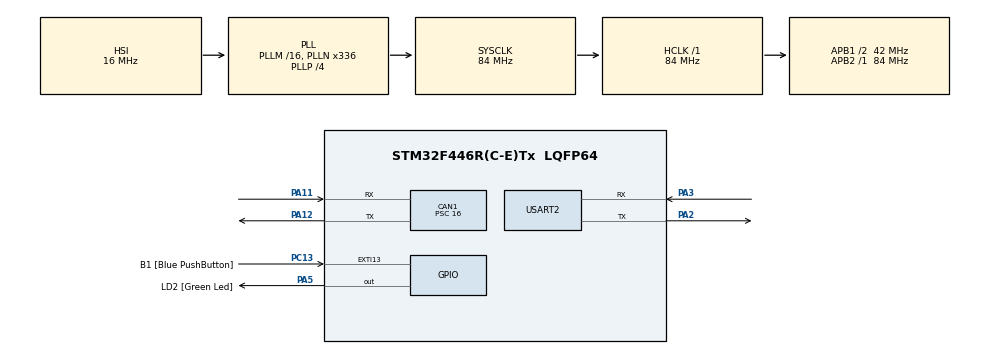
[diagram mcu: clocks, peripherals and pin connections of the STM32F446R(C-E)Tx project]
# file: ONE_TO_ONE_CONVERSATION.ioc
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CAN1.BS1=CAN_BS1_3TQ
CAN1.CalculateBaudRate=525000
CAN1.CalculateTimeBit=1904
CAN1.CalculateTimeQuantum=380.95238095238096
CAN1.NART=DISABLE
CAN1.Prescaler=16
CAN1.TXFP=DISABLE
FREERTOS.Tasks01=defaultTask,0,128,StartDefaultTask,Default,NULL,Dynamic,NULL,NULL
FREERTOS.configUSE_NEWLIB_REENTRANT=1
Mcu.Family=STM32F4
Mcu.Name=STM32F446R(C-E)Tx
Mcu.Package=LQFP64
NVIC.CAN1_RX0_IRQn=true\:5\:0\:false\:false\:true\:true\:true\:true\:true
NVIC.CAN1_RX1_IRQn=true\:5\:0\:false\:false\:true\:true\:true\:true\:true
NVIC.PriorityGroup=NVIC_PRIORITYGROUP_4
NVIC.TIM1_UP_TIM10_IRQn=true\:5\:0\:false\:false\:true\:true\:false\:true\:true
NVIC.TIM3_IRQn=true\:5\:0\:false\:false\:true\:true\:true\:true\:true
NVIC.TIM4_IRQn=true\:5\:0\:false\:false\:true\:true\:true\:true\:true
NVIC.TIM6_DAC_IRQn=true\:5\:0\:false\:false\:true\:true\:true\:true\:true
NVIC.TIM7_IRQn=true\:5\:0\:false\:false\:true\:true\:true\:true\:true
NVIC.TIM8_BRK_TIM12_IRQn=true\:5\:0\:false\:false\:true\:true\:true\:true\:true
NVIC.TimeBase=TIM1_UP_TIM10_IRQn
NVIC.TimeBaseIP=TIM1
NVIC.USART2_IRQn=true\:5\:0\:false\:false\:true\:true\:true\:true\:true
PA11.Mode=CAN_Activate
PA11.Signal=CAN1_RX
PA12.Mode=CAN_Activate
PA12.Signal=CAN1_TX
PA13.GPIO_Label=TMS
PA13.Mode=Serial_Wire
PA13.Signal=SYS_JTMS-SWDIO
PA14.GPIO_Label=TCK
PA14.Mode=Serial_Wire
PA14.Signal=SYS_JTCK-SWCLK
PA2.GPIO_ModeDefaultPP=GPIO_MODE_AF_PP
PA2.GPIO_PuPd=GPIO_NOPULL
PA2.GPIO_Speed=GPIO_SPEED_FREQ_VERY_HIGH
PA2.Mode=Asynchronous
PA2.Signal=USART2_TX
PA3.GPIO_ModeDefaultPP=GPIO_MODE_AF_PP
PA3.GPIO_PuPd=GPIO_NOPULL
PA3.GPIO_Speed=GPIO_SPEED_FREQ_VERY_HIGH
PA3.Mode=Asynchronous
PA3.Signal=USART2_RX
PA5.GPIO_Label=LD2 [Green Led]
PA5.Signal=GPIO_Output
PB3.GPIO_Label=SWO
PB3.Signal=SYS_JTDO-SWO
PC13.GPIO_Label=B1 [Blue PushButton]
PC13.GPIO_ModeDefaultEXTI=GPIO_MODE_IT_FALLING
PC13.Signal=GPXTI13
PC14-OSC32_IN.Mode=LSE-External-Oscillator
PC14-OSC32_IN.Signal=RCC_OSC32_IN
PC15-OSC32_OUT.Mode=LSE-External-Oscillator
PC15-OSC32_OUT.Signal=RCC_OSC32_OUT
PH0-OSC_IN.Mode=HSE-External-Oscillator
PH0-OSC_IN.Signal=RCC_OSC_IN
PH1-OSC_OUT.Mode=HSE-External-Oscillator
PH1-OSC_OUT.Signal=RCC_OSC_OUT
ProjectManager.HeapSize=0x200
ProjectManager.StackSize=0x400
ProjectManager.TargetToolchain=STM32CubeIDE
RCC.48MHZClocksFreq_Value=84000000
RCC.AHBFreq_Value=84000000
RCC.APB1CLKDivider=RCC_HCLK_DIV2
RCC.APB1Freq_Value=42000000
RCC.APB1TimFreq_Value=84000000
RCC.APB2Freq_Value=84000000
RCC.APB2TimFreq_Value=84000000
RCC.CortexFreq_Value=84000000
RCC.FLatency-AdvancedSettings=FLASH_LATENCY_2
RCC.HCLKFreq_Value=84000000
RCC.HSE_VALUE=8000000
RCC.HSI_VALUE=16000000
RCC.PLLN=336
RCC.PLLP=RCC_PLLP_DIV4
RCC.SYSCLKFreq_VALUE=84000000
RCC.SYSCLKSource=RCC_SYSCLKSOURCE_PLLCLK
RCC.USBFreq_Value=168000000
RCC.VCOOutputFreq_Value=336000000
TIM12.Period=1999
TIM12.Prescaler=41999
TIM3.Period=9999
TIM3.Prescaler=41999
TIM4.Period=3999
TIM4.Prescaler=41999
TIM6.Period=19999
TIM6.Prescaler=41999
TIM7.Period=19999
TIM7.Prescaler=41999
USART2.VirtualMode=VM_ASYNC
VP_FREERTOS_VS_CMSIS_V1.Mode=CMSIS_V1
VP_SYS_VS_tim1.Mode=TIM1
VP_TIM12_VS_ClockSourceINT.Mode=Internal
VP_TIM3_VS_ClockSourceINT.Mode=Internal
VP_TIM4_VS_ClockSourceINT.Mode=Internal
VP_TIM6_VS_ClockSourceINT.Mode=Enable_Timer
VP_TIM7_VS_ClockSourceINT.Mode=Enable_Timer
board=NUCLEO-F446RE

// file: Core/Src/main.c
/* USER CODE BEGIN Header */
/**
 ******************************************************************************
 * @file           : main.c
 * @brief          : Main program body
 ******************************************************************************
 * @attention
 *
 * Copyright (c) 2024 STMicroelectronics.
 * All rights reserved.
 *
 * This software is licensed under terms that can be found in the LICENSE file
 * in the root directory of this software component.
 * If no LICENSE file comes with this software, it is provided AS-IS.
 *
 ******************************************************************************
 */
/* USER CODE END Header */
#include "main.h"
#include "cmsis_os.h"
#include "can.h"
#include "tim.h"
#include "usart.h"
#include "gpio.h"

/* USER CODE BEGIN Includes */
#include "APP_UDS_Diag.h"
#include "string.h"
#include "CanTp.h"
#include "CanIf.h"
#include "CanNm.h"
/* USER CODE END Includes */

/* USER CODE BEGIN PM */

/*
 *
 *
 *
 *
 *
 *
 *
 *
 *
 * TODO:
 * NRC Handling
 * Use flags in server callback
 * Implement said flags in UDS_MainFunction
 *
 * Handle VIN array
 * Test Third Node(BroadCasting/Multiple Responses)
 *
 *
 *
 *
 *
 *
 *
 *
 *
 */

/* USER CODE END PM */

/* USER CODE BEGIN PV */

extern CAN_HandleTypeDef hcan1;
extern UART_HandleTypeDef huart2;

TaskHandle_t xTaskHandle1 = NULL;
TaskHandle_t xTaskHandle2 = NULL;
TaskHandle_t xTaskHandle3 = NULL;

#if CAN_MODE == Client
/**********App *******************/

//For Menus
ClientMenu Menu = Target_Selection_Menu;
uint8_t Menu_Letter = {0};
extern uint8_t SupressedPosRes_CLient;
extern uint8_t Source_Address;
extern uint8_t Target_Address;

//Array of Menu Massages
const uint8_t* Menu_Msg_Arr[] =
{(uint8_t*)"\r\nMain Menu.\r\n",
		(uint8_t*) "\r\nplease Choose Your Service.\r\n",
		(uint8_t*) "\r\nA --> Control Session.\r\n",
		(uint8_t*) "\r\nB --> Read Data.\r\n",
		(uint8_t*) "\r\nC --> Write Data.\r\n",
		(uint8_t*) "\r\nD --> Security Access.\r\n",
		(uint8_t*) "\r\nE --> Tester Representer.\r\n",
		(uint8_t*) "\r\nChoose Your Session.\r\n",
		(uint8_t*) "\r\nF --> Default Session.\r\n",
		(uint8_t*) "\r\nG --> Extended Session.\r\n",
		(uint8_t*) "\r\nChoose Your Data.\r\n",
		(uint8_t*) "\r\nH --> Read Oil Temperature.\r\n",
		(uint8_t*) "\r\nI --> Read Oil Pressure.\r\n",
		(uint8_t*) "\r\nChoose Your Option.\r\n",
		(uint8_t*) "\r\nJ --> Seed.\r\n",
		(uint8_t*) "\r\nK --> Key.\r\n",
		(uint8_t*) "\r\nM --> Return to Main Menu.\r\n",
		(uint8_t*) "\r\n=========================================.\r\n",
		(uint8_t*) "\r\nO --> Write Oil Temperature.\r\n",
		(uint8_t*) "\r\nP --> Write Oil Pressure.\r\n",
		(uint8_t*)"\r\nDo You want a Response in case of it's Positive?.\r\n",
		(uint8_t*)"\r\nR --> No.\r\n",
		(uint8_t*)"\r\nQ --> Yes.\r\n",
		(uint8_t*)"\r\nM --> Go to Main Menu.\r\n",
		(uint8_t*)"\r\nN --> Back to Response Permission.\r\n",
		(uint8_t*) "\r\nChoose Your Target:.\r\n",
		(uint8_t*) "\r\nT --> Oil Temperature.\r\n",
		(uint8_t*) "\r\nU --> Oil Pressure.\r\n",
		(uint8_t*) "\r\nV --> Back To Target Selection Menu.\r\n",
		(uint8_t*)"\r\nN --> Go to Response Permission.\r\n",
		(uint8_t*)"\r\nW --> Broadcast.\r\n",
		(uint8_t*)"\r\nX --> Read VIN Number.\r\n",
		(uint8_t*)"\r\nY --> Write VIN Number.\r\n",
};
#else

extern TIM_HandleTypeDef htim6;
volatile uint8_t count;
volatile uint8_t count3;
volatile uint8_t count4;
volatile uint8_t count7;
volatile uint8_t count12;
//extern volatile uint8_t global_sec_flag;
extern volatile uint8_t global_session;

extern uint8_t SupressedPosRes_Server;
#endif

/* USER CODE END PV */

void SystemClock_Config(void);
void MX_FREERTOS_Init(void);
/* USER CODE BEGIN PFP */

#if CAN_MODE == Client

void Display_Menu(void);

#endif

/* USER CODE END PFP */

/* USER CODE BEGIN 0 */

#if CAN_MODE == Client
void HAL_UART_RxCpltCallback(UART_HandleTypeDef *huart) {

	//A --> Control Session.
	//B --> Read Data.
	//C --> Write Data.
	//D --> Security Access.
	//E --> Tester Representer.

	//F --> Default Session.
	//G --> Extended Session.

	//H --> Read Oil Temperature.
	//I --> Read Oil Pressure.

	//J --> Seed.
	//K --> Key.

	//M --> Return to Main Menu

	//O --> Write Oil Temperature.
	//P --> Write Oil Pressure.

	//Q --> Yes
	//R --> No.

	//N--> Back to Response Permission

	//T --> Oil Temperature
	//U --> Oil Pressure
	//W --> Broadcast
	//V --> Back To Target Selection Menu

	//X --> Read VIN Number.
	//Y --> Write VIN Number.

	//Display Choosen Letter
	HAL_UART_Transmit(&huart2 ,&Menu_Letter , 1, HAL_MAX_DELAY);

	//Switch on User Menus
	switch(Menu_Letter)
	{
	case 'A':
		Menu = Control_Session_Menu;
		break;

	case 'B':
		Menu = Read_Data_Menu;
		break;

	case 'C':
		Menu = Write_Data_Menu;
		break;

	case 'D':
		Menu = Security_Access_Menu;
		break;

	case 'N':
		Menu = Response_Permission_Menu;
		break;

	case 'V':
		Menu = Target_Selection_Menu;
		break;

	case 'T':
		Target_Address = Tempreture_Address;
		Menu = Response_Permission_Menu;
		break;

	case 'U':
		Target_Address = Pressure_Address;
		Menu = Response_Permission_Menu;
		break;

	case 'W':
		Target_Address = Functional_Address;
		Menu = Response_Permission_Menu;
		break;

	case 'E':
		UDS_Tester_Presenter_Client();
		break;

	case 'F':
		UDS_Control_Session_Default();
		break;

	case 'G':
		UDS_Control_Session_Extended();
		break;

	case 'H':
		DID Read_Oil_Temp = Oil_Temp;
		UDS_Read_Data_Client(Read_Oil_Temp);
		break;

	case 'I':
		DID Read_Oil_Pressure = Oil_Pressure;
		UDS_Read_Data_Client(Read_Oil_Pressure);

		break;

	case 'X':
		DID Read_VIN_number = VIN_number;
		UDS_Read_Data_Client(Read_VIN_number);

		break;

	case 'O':
		DID Write_Oil_Temp = Oil_Temp;
		uint32_t Write_Oil_Temp_data = 0x5432;
		UDS_Write_Data_Client(Write_Oil_Temp, Write_Oil_Temp_data);
		break;

	case 'P':
		DID Write_Oil_Pressure = Oil_Pressure;
		uint32_t Write_Oil_Pressure_data = 0x54321044;
		UDS_Write_Data_Client(Write_Oil_Pressure, Write_Oil_Pressure_data);
		break;

	case 'Y':
		DID Write_VIN_number = VIN_number;
		uint32_t Write_VIN_number_data = 0x00;
		UDS_Write_Data_Client(Write_VIN_number, Write_VIN_number_data);
		break;

	case 'J':
		Sub_Fun sub_fun_seed = Seed;
		UDS_Send_Security_Client(sub_fun_seed);
		break;

	case 'K':
		Sub_Fun sub_fun_key = Key;
		// A Temporary example for a seed (Accessed in CallBack)
		UDS_Send_Security_Client(sub_fun_key);
		break;

	case 'M':
		Menu = Main_Menu;
		break;

	case 'Q':
		SupressedPosRes_CLient = 1;
		Menu = Main_Menu;
		break;

	case 'R':
		SupressedPosRes_CLient = 0;
		Menu = Main_Menu;
		break;

	default:
		Menu = Main_Menu;
	}

	Display_Menu();

	//Recieve Another Letter
	HAL_UART_Receive_IT(&huart2, &Menu_Letter, 1);

}

#endif

/* USER CODE END 0 */

int main(void)
{

	/* MCU Configuration--------------------------------------------------------*/

	/* Reset of all peripherals, Initializes the Flash interface and the Systick. */
	HAL_Init();

	/* Configure the system clock */
	SystemClock_Config();

	/* Initialize all configured peripherals */
	MX_GPIO_Init();
	MX_CAN1_Init();
	MX_USART2_UART_Init();
	MX_TIM6_Init();
	MX_TIM3_Init();
	MX_TIM4_Init();
	MX_TIM7_Init();
	MX_TIM12_Init();
	/* USER CODE BEGIN 2 */
	HAL_CAN_ActivateNotification(&hcan1, CAN_IT_RX_FIFO0_MSG_PENDING);
#if CAN_MODE == Client
	Display_Menu();
	HAL_UART_Receive_IT(&huart2, &Menu_Letter, 1);
	CanTp_setCallback(UDS_Client_Callback);
	xTaskCreate(UDS_MainFunction, "UDS_RX", configMINIMAL_STACK_SIZE,NULL, 2, &xTaskHandle3) ;
#else
	CanTp_setCallback(server_call_back);
#endif

	xTaskCreate(CanIf_Receive, "CANIf_RX", configMINIMAL_STACK_SIZE,NULL, 2, &xTaskHandle1) ;
	xTaskCreate(CanTp_MainFunction, "CANTp_RX", configMINIMAL_STACK_SIZE,NULL, 3, &xTaskHandle2) ;
	CanTp_Init();

	/* USER CODE END 2 */

	/* Call init function for freertos objects (in freertos.c) */
	MX_FREERTOS_Init();

	/* Start scheduler */
	osKernelStart();

	/* We should never get here as control is now taken by the scheduler */
	/* Infinite loop */
	while (1)
	{

	}
}

void SystemClock_Config(void)
{
	RCC_OscInitTypeDef RCC_OscInitStruct = {0};
	RCC_ClkInitTypeDef RCC_ClkInitStruct = {0};

	/** Configure the main internal regulator output voltage
	 */
	__HAL_RCC_PWR_CLK_ENABLE();
	__HAL_PWR_VOLTAGESCALING_CONFIG(PWR_REGULATOR_VOLTAGE_SCALE3);

	/** Initializes the RCC Oscillators according to the specified parameters
	 * in the RCC_OscInitTypeDef structure.
	 */
	RCC_OscInitStruct.OscillatorType = RCC_OSCILLATORTYPE_HSI;
	RCC_OscInitStruct.HSIState = RCC_HSI_ON;
	RCC_OscInitStruct.HSICalibrationValue = RCC_HSICALIBRATION_DEFAULT;
	RCC_OscInitStruct.PLL.PLLState = RCC_PLL_ON;
	RCC_OscInitStruct.PLL.PLLSource = RCC_PLLSOURCE_HSI;
	RCC_OscInitStruct.PLL.PLLM = 16;
	RCC_OscInitStruct.PLL.PLLN = 336;
	RCC_OscInitStruct.PLL.PLLP = RCC_PLLP_DIV4;
	RCC_OscInitStruct.PLL.PLLQ = 2;
	RCC_OscInitStruct.PLL.PLLR = 2;
	if (HAL_RCC_OscConfig(&RCC_OscInitStruct) != HAL_OK)
	{
		Error_Handler();
	}

	/** Initializes the CPU, AHB and APB buses clocks
	 */
	RCC_ClkInitStruct.ClockType = RCC_CLOCKTYPE_HCLK|RCC_CLOCKTYPE_SYSCLK
			|RCC_CLOCKTYPE_PCLK1|RCC_CLOCKTYPE_PCLK2;
	RCC_ClkInitStruct.SYSCLKSource = RCC_SYSCLKSOURCE_PLLCLK;
	RCC_ClkInitStruct.AHBCLKDivider = RCC_SYSCLK_DIV1;
	RCC_ClkInitStruct.APB1CLKDivider = RCC_HCLK_DIV2;
	RCC_ClkInitStruct.APB2CLKDivider = RCC_HCLK_DIV1;

	if (HAL_RCC_ClockConfig(&RCC_ClkInitStruct, FLASH_LATENCY_2) != HAL_OK)
	{
		Error_Handler();
	}
}

/* USER CODE BEGIN 4 */

#if CAN_MODE == Client

void Display_Menu(void)
{

	switch(Menu)
	{
	case Main_Menu:

		//Default Session Menu
		HAL_UART_Transmit(&huart2, Menu_Msg_Arr[0], strlen((char*)Menu_Msg_Arr[0]), HAL_MAX_DELAY);    //{"\r\nMain Menu.\r\n"
		HAL_UART_Transmit(&huart2, Menu_Msg_Arr[1], strlen((char*)Menu_Msg_Arr[1]), HAL_MAX_DELAY);    //"\r\n please Choose Your Service.\r\n",
		HAL_UART_Transmit(&huart2, Menu_Msg_Arr[2], strlen((char*)Menu_Msg_Arr[2]), HAL_MAX_DELAY);    //"\r\nA --> Control Session.\r\n",
		HAL_UART_Transmit(&huart2, Menu_Msg_Arr[3], strlen((char*)Menu_Msg_Arr[3]), HAL_MAX_DELAY);    //"\r\nB --> Read Data.\r\n",
		HAL_UART_Transmit(&huart2, Menu_Msg_Arr[4], strlen((char*)Menu_Msg_Arr[4]), HAL_MAX_DELAY);    //"\r\nC --> Write Data.\r\n",
		HAL_UART_Transmit(&huart2, Menu_Msg_Arr[5], strlen((char*)Menu_Msg_Arr[5]), HAL_MAX_DELAY);    //"\r\nD --> Security Access.\r\n",
		HAL_UART_Transmit(&huart2, Menu_Msg_Arr[6], strlen((char*)Menu_Msg_Arr[6]), HAL_MAX_DELAY);    //"\r\nE --> Tester Representer.\r\n"};
		HAL_UART_Transmit(&huart2, Menu_Msg_Arr[24], strlen((char*)Menu_Msg_Arr[24]), HAL_MAX_DELAY);    //"\r\nN --> Back to Response Permission.\r\n"};
		HAL_UART_Transmit(&huart2, Menu_Msg_Arr[28], strlen((char*)Menu_Msg_Arr[28]), HAL_MAX_DELAY);    //"\r\nV --> Back To Target Selection Menu.\r\n"
		HAL_UART_Transmit(&huart2, Menu_Msg_Arr[17], strlen((char*)Menu_Msg_Arr[17]), HAL_MAX_DELAY);    //"\r\n=========================================.\r\n"};
		break;

	case Control_Session_Menu:
		HAL_UART_Transmit(&huart2, Menu_Msg_Arr[7], strlen((char*)Menu_Msg_Arr[7]), HAL_MAX_DELAY);    //"\r\nChoose Your Session.\r\n"
		HAL_UART_Transmit(&huart2, Menu_Msg_Arr[8], strlen((char*)Menu_Msg_Arr[8]), HAL_MAX_DELAY);    //"\r\nF --> Default Session.\r\n"
		HAL_UART_Transmit(&huart2, Menu_Msg_Arr[9], strlen((char*)Menu_Msg_Arr[9]), HAL_MAX_DELAY);    //"\r\nG --> Extended Session.\r\n"
		HAL_UART_Transmit(&huart2, Menu_Msg_Arr[16], strlen((char*)Menu_Msg_Arr[16]), HAL_MAX_DELAY);    //"\r\nM --> Return to Main Menu.\r\n"
		HAL_UART_Transmit(&huart2, Menu_Msg_Arr[17], strlen((char*)Menu_Msg_Arr[17]), HAL_MAX_DELAY);    //"\r\n=========================================.\r\n"};
		break;

	case Read_Data_Menu:
		HAL_UART_Transmit(&huart2, Menu_Msg_Arr[10], strlen((char*)Menu_Msg_Arr[10]), HAL_MAX_DELAY);    //"\r\nChoose Your Data.\r\n"

		if(Target_Address == Tempreture_Address || Target_Address == Functional_Address )
		{
			HAL_UART_Transmit(&huart2, Menu_Msg_Arr[11], strlen((char*)Menu_Msg_Arr[11]), HAL_MAX_DELAY);    //"\r\nH --> Read Oil Temperature.\r\n"

		}
		else if (Target_Address == Pressure_Address || Target_Address == Functional_Address)
		{
			HAL_UART_Transmit(&huart2, Menu_Msg_Arr[12], strlen((char*)Menu_Msg_Arr[12]), HAL_MAX_DELAY);    //"\r\nI --> Read Oil Pressure.\r\n"

		}
		else
		{
			//Nothing
		}
		HAL_UART_Transmit(&huart2, Menu_Msg_Arr[31], strlen((char*)Menu_Msg_Arr[31]), HAL_MAX_DELAY);    //"\r\nX --> Read VIN Number.\r\n"
		HAL_UART_Transmit(&huart2, Menu_Msg_Arr[16], strlen((char*)Menu_Msg_Arr[16]), HAL_MAX_DELAY);    //"\r\nM --> Return to Main Menu.\r\n"
		HAL_UART_Transmit(&huart2, Menu_Msg_Arr[17], strlen((char*)Menu_Msg_Arr[17]), HAL_MAX_DELAY);    //"\r\n=========================================.\r\n"};
		break;

	case Security_Access_Menu:
		HAL_UART_Transmit(&huart2, Menu_Msg_Arr[13], strlen((char*)Menu_Msg_Arr[13]), HAL_MAX_DELAY);    //"\r\nChoose Your Option.\r\n"
		HAL_UART_Transmit(&huart2, Menu_Msg_Arr[14], strlen((char*)Menu_Msg_Arr[14]), HAL_MAX_DELAY);    //"\r\nJ --> Seed.\r\n"
		HAL_UART_Transmit(&huart2, Menu_Msg_Arr[15], strlen((char*)Menu_Msg_Arr[15]), HAL_MAX_DELAY);    //"\r\nK --> Key.\r\n"
		HAL_UART_Transmit(&huart2, Menu_Msg_Arr[16], strlen((char*)Menu_Msg_Arr[16]), HAL_MAX_DELAY);    //"\r\nM --> Return to Main Menu.\r\n"
		HAL_UART_Transmit(&huart2, Menu_Msg_Arr[17], strlen((char*)Menu_Msg_Arr[17]), HAL_MAX_DELAY);    //"\r\n=========================================.\r\n"};
		break;

	case Write_Data_Menu:
		HAL_UART_Transmit(&huart2, Menu_Msg_Arr[10], strlen((char*)Menu_Msg_Arr[10]), HAL_MAX_DELAY);    //"\r\nChoose Your Data.\r\n"

		if(Target_Address == Tempreture_Address || Target_Address == Functional_Address)
		{
			HAL_UART_Transmit(&huart2, Menu_Msg_Arr[18], strlen((char*)Menu_Msg_Arr[18]), HAL_MAX_DELAY);    //"\r\nO --> Write Oil Temperature.\r\n"

		}
		else if (Target_Address == Pressure_Address || Target_Address == Functional_Address)
		{
			HAL_UART_Transmit(&huart2, Menu_Msg_Arr[19], strlen((char*)Menu_Msg_Arr[19]), HAL_MAX_DELAY);    //"\r\nP --> Write Oil Pressure.\r\n"

		}
		else
		{
			//Nothing
		}
		HAL_UART_Transmit(&huart2, Menu_Msg_Arr[32], strlen((char*)Menu_Msg_Arr[32]), HAL_MAX_DELAY);    //"\r\nY --> Write VIN Number.\r\n"
		HAL_UART_Transmit(&huart2, Menu_Msg_Arr[16], strlen((char*)Menu_Msg_Arr[16]), HAL_MAX_DELAY);    //"\r\nM --> Return to Main Menu.\r\n"
		HAL_UART_Transmit(&huart2, Menu_Msg_Arr[17], strlen((char*)Menu_Msg_Arr[17]), HAL_MAX_DELAY);    //"\r\n=========================================.\r\n"};
		break;

	case Response_Permission_Menu:
		HAL_UART_Transmit(&huart2, Menu_Msg_Arr[20], strlen((char*)Menu_Msg_Arr[20]), HAL_MAX_DELAY);    //"\r\nDo You want a Response in case of it's Positive?.\r\n"
		HAL_UART_Transmit(&huart2, Menu_Msg_Arr[22], strlen((char*)Menu_Msg_Arr[22]), HAL_MAX_DELAY);    //"\r\nQ --> Yes.\r\n"
		HAL_UART_Transmit(&huart2, Menu_Msg_Arr[21], strlen((char*)Menu_Msg_Arr[21]), HAL_MAX_DELAY);    //"\r\nR --> No.\r\n"
		HAL_UART_Transmit(&huart2, Menu_Msg_Arr[23], strlen((char*)Menu_Msg_Arr[23]), HAL_MAX_DELAY);    //"\r\nM --> Go to Main Menu.\r\n"
		HAL_UART_Transmit(&huart2, Menu_Msg_Arr[28], strlen((char*)Menu_Msg_Arr[28]), HAL_MAX_DELAY);    //"\r\nT --> Oil Temperature.\r\n"
		HAL_UART_Transmit(&huart2, Menu_Msg_Arr[17], strlen((char*)Menu_Msg_Arr[17]), HAL_MAX_DELAY);    //"\r\nU --> Oil Pressure.\r=========================================.\r\n"};
		break;

	case Target_Selection_Menu:
		HAL_UART_Transmit(&huart2, Menu_Msg_Arr[25], strlen((char*)Menu_Msg_Arr[25]), HAL_MAX_DELAY);    //"\r\nChoose Your Target:.\r\n"
		HAL_UART_Transmit(&huart2, Menu_Msg_Arr[26], strlen((char*)Menu_Msg_Arr[26]), HAL_MAX_DELAY);    //"\r\nT --> Oil Temperature.\r\n"
		HAL_UART_Transmit(&huart2, Menu_Msg_Arr[27], strlen((char*)Menu_Msg_Arr[27]), HAL_MAX_DELAY);    //"\r\nU --> Oil Pressure.\r\n"
		HAL_UART_Transmit(&huart2, Menu_Msg_Arr[30], strlen((char*)Menu_Msg_Arr[30]), HAL_MAX_DELAY);    //"\r\nW --> Broadcast.\r\n"
		HAL_UART_Transmit(&huart2, Menu_Msg_Arr[29], strlen((char*)Menu_Msg_Arr[29]), HAL_MAX_DELAY);    //"\r\nN --> Go to Response Permission.\r\n"};
		HAL_UART_Transmit(&huart2, Menu_Msg_Arr[23], strlen((char*)Menu_Msg_Arr[23]), HAL_MAX_DELAY);    //"\r\nM --> Go to Main Menu.\r\n"
		HAL_UART_Transmit(&huart2, Menu_Msg_Arr[17], strlen((char*)Menu_Msg_Arr[17]), HAL_MAX_DELAY);    //"\r\n=========================================.\r\n"};
		break;

	default:
		HAL_UART_Transmit(&huart2, Menu_Msg_Arr[25], strlen((char*)Menu_Msg_Arr[25]), HAL_MAX_DELAY);    //"\r\nChoose Your Target:.\r\n"
		HAL_UART_Transmit(&huart2, Menu_Msg_Arr[26], strlen((char*)Menu_Msg_Arr[26]), HAL_MAX_DELAY);    //"\r\nT --> Oil Temperature.\r\n"
		HAL_UART_Transmit(&huart2, Menu_Msg_Arr[27], strlen((char*)Menu_Msg_Arr[27]), HAL_MAX_DELAY);    //"\r\nU --> Oil Pressure.\r\n"
		HAL_UART_Transmit(&huart2, Menu_Msg_Arr[30], strlen((char*)Menu_Msg_Arr[30]), HAL_MAX_DELAY);    //"\r\nW --> Broadcast.\r\n"
		HAL_UART_Transmit(&huart2, Menu_Msg_Arr[23], strlen((char*)Menu_Msg_Arr[23]), HAL_MAX_DELAY);    //"\r\nM --> Go to Main Menu.\r\n"
		HAL_UART_Transmit(&huart2, Menu_Msg_Arr[17], strlen((char*)Menu_Msg_Arr[17]), HAL_MAX_DELAY);    //"\r\n=========================================.\r\n"};
		break;

		break;
		//Nothing
	}

}
#else

#endif
/* USER CODE END 4 */

void HAL_TIM_PeriodElapsedCallback(TIM_HandleTypeDef *htim)
{
	if (htim->Instance == TIM1) {
		HAL_IncTick();
	}
	/* USER CODE BEGIN Callback 1 */
#if CAN_MODE == Client
#else
	else if(htim->Instance == TIM6){
		if(count == 0){
			count++;
			return;
		}

		//		__HAL_TIM_CLEAR_FLAG(htim, TIM_FLAG_UPDATE);
		if (global_session != DefaultSession)
		{
			global_session = DefaultSession;
			//			global_sec_flag = Un_Secure;
		}
		else
		{
			// do nothing
		}
		//		stop_timer();
		reset_timer();
		HAL_GPIO_TogglePin(LD2_GPIO_Port, LD2_Pin);
	}
	else if(htim->Instance == TIM3){
		if(count3 == 0){
			count3++;
			return;
		}

		CanNm_TimeOut(3);
		stop_timer(htim);

	}
	else if(htim->Instance == TIM4){
		if(count4 == 0){
			count4++;
			return;
		}
		CanNm_TimeOut(4);
		stop_timer(htim);
	}
	else if(htim->Instance == TIM7){
		if(count7 == 0){
			count7++;
			return;
		}
		CanNm_TimeOut(7);
		stop_timer(htim);
	}
	else if(htim->Instance == TIM12){
		if(count12 == 0){
			count12++;
			return;
		}
		CanNm_TimeOut(12);
	}
#endif
/* USER CODE END Callback 1 */
}

void Error_Handler(void)
{
	__disable_irq();
	while (1)
	{
	}
}
